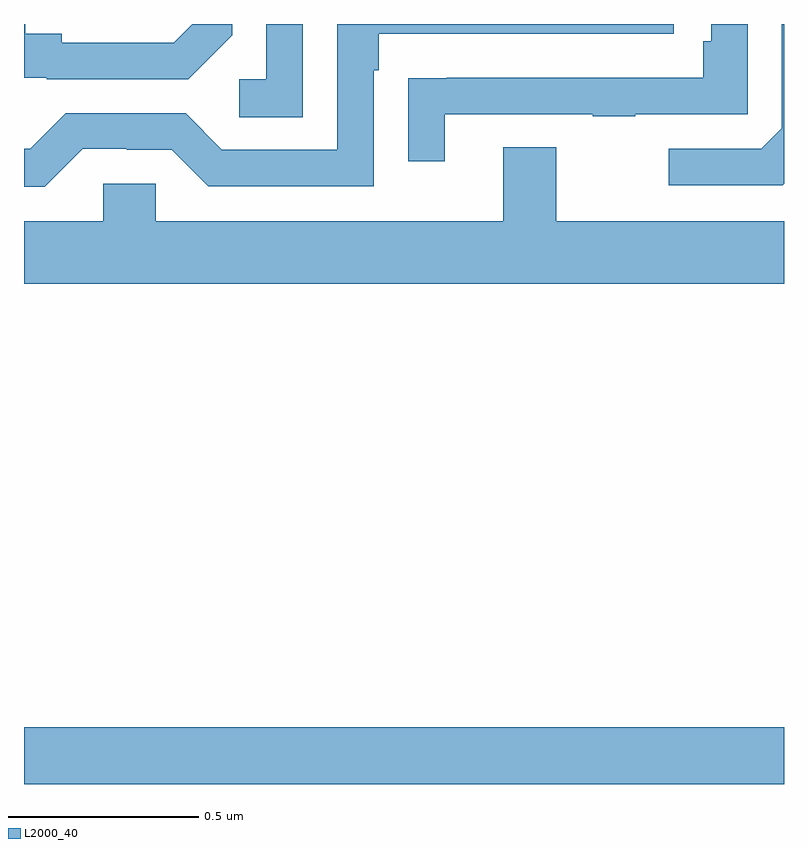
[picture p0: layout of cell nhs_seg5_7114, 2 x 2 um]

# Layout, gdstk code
import gdstk
lib = gdstk.Library(unit=1e-6, precision=1e-09)
def R(c, l, rs):  # rectangles x0, y0, x1, y1
    for r in rs: c.add(gdstk.rectangle(r[:2], r[2:], *l))
def P(c, l, *ps):  # polygons
    for p in ps: c.add(gdstk.Polygon(p, *l))
L2000_40 = (2000, 40)

nhs_seg5_7114 = lib.new_cell('nhs_seg5_7114')
R(nhs_seg5_7114, L2000_40, [(205,832.799,207,832.948)])
P(nhs_seg5_7114, L2000_40, [(206.107,834.561),(206.497,834.561),(206.497,834.556),(206.609,834.556),(206.609,834.561),(206.904,834.561),(206.904,834.799),(206.808,834.799),(206.808,834.754),(206.788,834.754),(206.788,834.657),(206.113,834.657),(206.113,834.656),(206.011,834.656),(206.011,834.438),(206.107,834.438)],
  [(205.548,834.77),(205.548,834.799),(205.443,834.799),(205.394,834.75),(205.099,834.75),(205.099,834.773),(205.003,834.773),(205.003,834.799),(205,834.799),(205,834.657),(205.06,834.657),(205.06,834.654),(205.432,834.654)],
  [(205.734,834.799),(205.638,834.799),(205.638,834.654),(205.566,834.654),(205.566,834.553),(205.734,834.553)],
  [(205.155,834.471),(205.271,834.471),(205.271,834.468),(205.389,834.468),(205.485,834.372),(205.92,834.372),(205.92,834.677),(205.933,834.677),(205.933,834.774),(206.71,834.774),(206.71,834.799),(205.824,834.799),(205.824,834.468),(205.521,834.468),(205.425,834.564),(205.11,834.564),(205.017,834.471),(205,834.471),(205,834.371),(205.055,834.371)],
  [(207,834.378),(207,834.799),(206.994,834.799),(206.994,834.525),(206.94,834.471),(206.697,834.471),(206.697,834.375),(206.997,834.375)],
  [(207,834.28),(206.401,834.28),(206.401,834.475),(206.261,834.475),(206.261,834.28),(205.347,834.28),(205.347,834.378),(205.209,834.378),(205.209,834.28),(205,834.28),(205,834.116),(207,834.116)])

lib.write_gds('nhs_seg5_7114.gds')
